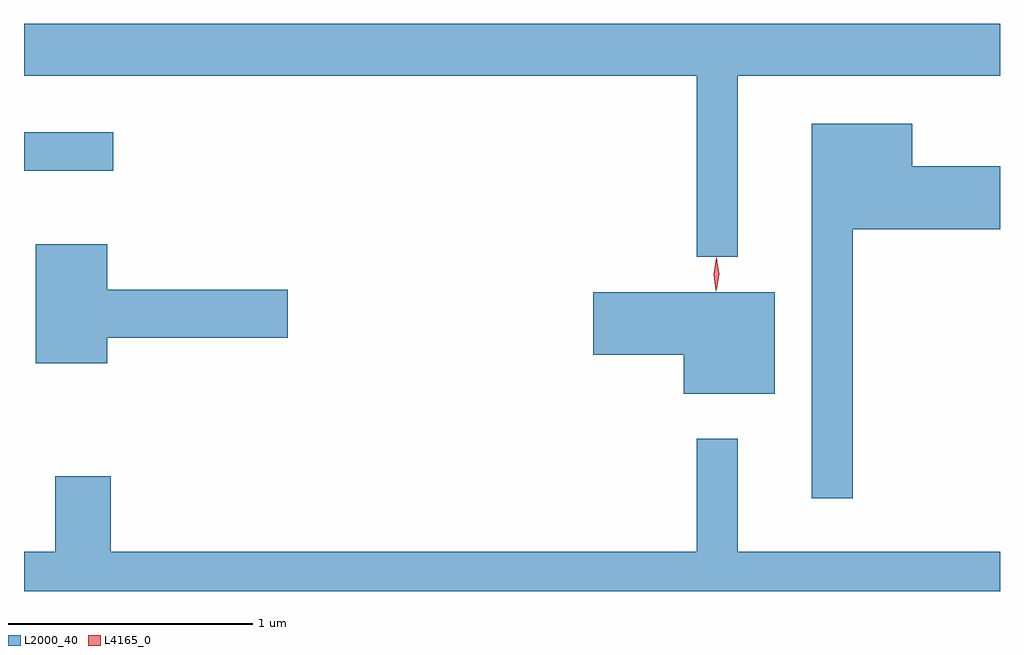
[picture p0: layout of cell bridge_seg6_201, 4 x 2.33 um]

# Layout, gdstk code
import gdstk
lib = gdstk.Library(unit=1e-6, precision=1e-09)
def R(c, l, rs):  # rectangles x0, y0, x1, y1
    for r in rs: c.add(gdstk.rectangle(r[:2], r[2:], *l))
def P(c, l, *ps):  # polygons
    for p in ps: c.add(gdstk.Polygon(p, *l))
L2000_40 = (2000, 40)
L4165_0 = (4165, 0)

bridge_seg6_201 = lib.new_cell('bridge_seg6_201')
R(bridge_seg6_201, L2000_40, [(1058.043,1531.886,1058.408,1532.044)])
P(bridge_seg6_201, L2000_40, [(1060.969,1532.276),(1062.043,1532.276),(1062.043,1532.489),(1058.043,1532.489),(1058.043,1532.276),(1060.801,1532.276),(1060.801,1531.533),(1060.969,1531.533)],
  [(1061.439,1531.646),(1062.043,1531.646),(1062.043,1531.904),(1061.684,1531.904),(1061.684,1532.079),(1061.271,1532.079),(1061.271,1530.543),(1061.439,1530.543)],
  [(1058.384,1531.201),(1059.124,1531.201),(1059.124,1531.399),(1058.384,1531.399),(1058.384,1531.584),(1058.091,1531.584),(1058.091,1531.096),(1058.384,1531.096)],
  [(1061.119,1531.389),(1060.376,1531.389),(1060.376,1531.131),(1060.746,1531.131),(1060.746,1530.971),(1061.119,1530.971)],
  [(1062.043,1530.324),(1060.969,1530.324),(1060.969,1530.788),(1060.801,1530.788),(1060.801,1530.324),(1058.399,1530.324),(1058.399,1530.634),(1058.171,1530.634),(1058.171,1530.324),(1058.043,1530.324),(1058.043,1530.162),(1062.043,1530.162)])
P(bridge_seg6_201, L4165_0, [(1060.882,1531.4),(1060.882,1531.4),(1060.872,1531.464),(1060.882,1531.526),(1060.882,1531.527),(1060.883,1531.526),(1060.892,1531.464),(1060.883,1531.4)],
  [(1060.879,1531.394),(1060.87,1531.462),(1060.881,1531.53),(1060.881,1531.53),(1060.882,1531.53),(1060.89,1531.462),(1060.88,1531.394),(1060.88,1531.394)])

lib.write_gds('bridge_seg6_201.gds')
